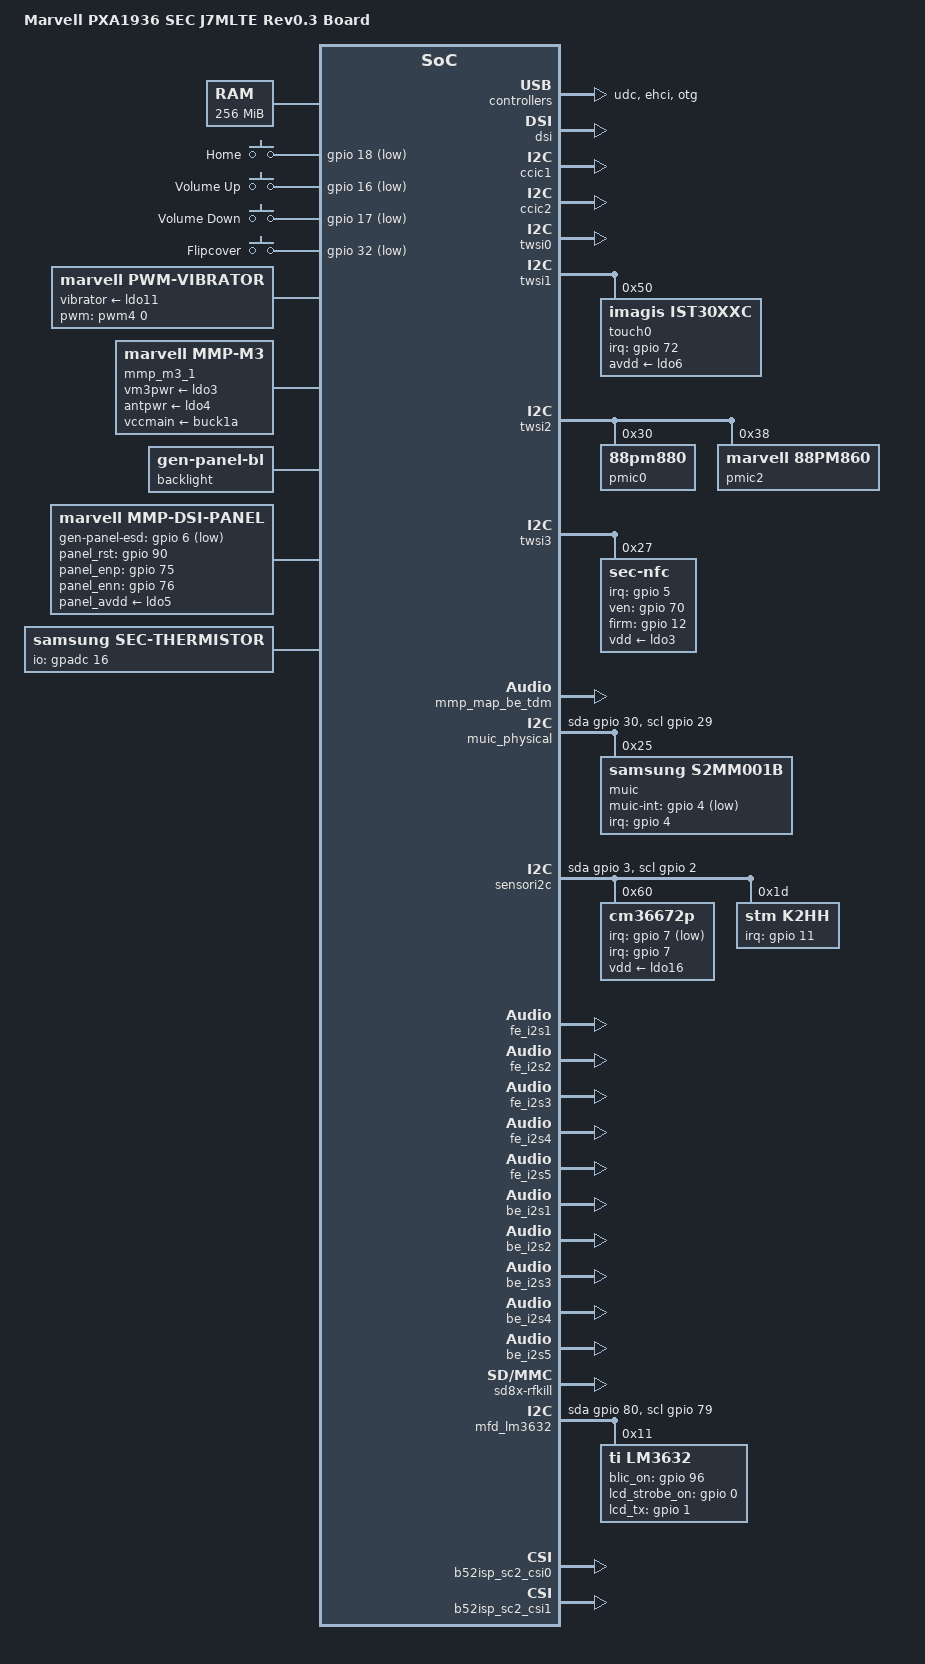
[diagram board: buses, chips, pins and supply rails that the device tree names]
/*
 *	Copyright (C) 2015 Samsung Electronics Co, Ltd.
 *
 *	This program is free software; you can redistribute it and/or modify
 *	it under the terms of the GNU General Public License version 2 as
 *	publishhed by the Free Software Foundation.
 */

/dts-v1/;
#include "pxa1936.dtsi"
#include "pxa1936-pinfunc.h"
#include <dt-bindings/mmc/pxa_sdhci.h>
#include <dt-bindings/input/input.h>
#include <dt-bindings/gpio/gpio.h>
#include <dt-bindings/video/gen-panel.h>
#include <dt-bindings/pxa1936_memory_reserve_sizes.h>
#include "sec-machtypes.h"

/ {
	model = "Marvell PXA1936 SEC J7MLTE Rev0.3 Board";
	compatible = "marvell,pxa1936";
	pxa,rev-id = <MACH_TYPE_J7MLTE 3>;

	aliases {
		i2c4 = &muic_physical;
		i2c5 = &sensori2c;
		i2c6 = &mfd_lm3632;
	};

	memory {
		reg = <0x00000000 0x10000000>;
	};

	reserved_memory {
		cp {
			compatible = "marvell,cp-heap";
			cp-base = <PXA1936_CP_BASE>;
			cp-size = <PXA1936_CP_RESERVE_SIZE>;
			status = "okay";
		};

		sec_log {
			compatible = "marvell,seclog-heap";
			seclog-base = <PXA1936_SECLOG_BASE>;
			seclog-size = <PXA1936_SECLOG_RESERVE_SIZE>;
			seclastklog-base = <PXA1936_SECLASTK_LOG_BASE>;
			seclastklog-size = <PXA1936_SECLASTK_LOG_RESERVE_SIZE>;
			status = "okay";
		};

		gpu {
			compatible = "marvell,gpu-heap";
			gpu-base = <PXA1936_GC_BASE>;
			gpu-size = <PXA1936_GC_RESERVE_SIZE>;
			status = "okay";
		};

		cm3_sbuf {
			compatible = "marvell,cm3sbuf-heap";
			cm3sbuf-base = <PXA1936_CM3_SHARED_BUF_BASE>;
			cm3sbuf-size = <PXA1936_CM3_SHARED_BUF_SIZE>;
			status = "okay";
		};

		fb_mem {
			compatible = "marvell,fb-heap";
			fb-mem = <PXA1936_FB_BASE>;
			xres = <720>;
			yres = <1280>;
			bpp = <4>; /* bits per pixel = 32, so bytes per pixel = 32/8 = 4 */
			status = "okay";
		};

		cma {
			compatible = "linux,cma-heap";
			cma-size = <PXA1936_CMA_RESERVE_SIZE>;
			status = "okay";
		};
	};

	soc {
		devfreq-ddr {
			status = "okay";
		};

		pd_display: pd_display@0xd4282800 {
			compatible = "marvell,power-domain-display-pxa1u88";
			reg = <0xd4282800 0x1000>;
			clocks = <&soc_clocks PXA1936_CLK_DISP_HCLK>,
				<&soc_clocks PXA1936_CLK_DSI_ESC>;
			clock-names = "LCDCIHCLK", "esc_clk";
		};

		smmu {	/* iommu in vpu */
			clocks = <&soc_clocks PXA1936_CLK_VPU>,
				<&soc_clocks PXA1936_CLK_VPUBUS>;
			clock-names = "VPUCLK", "VPUACLK";
			marvell,power-domain = <&pd_vpu>;
			status = "okay";
		};

		axi@d4200000 {	/* AXI */
			usbphy: usbphy@d4207000 {
				status = "okay";
			};

			udc: udc@d4208100 {
				status = "okay";
			};

			ehci: ehci@d4208100 {
				status = "okay";
			};

			otg: otg@d4208100 {
				status = "okay";
			};

			pd_gc: pd_gc@d4282800 {
				compatible = "marvell,power-domain-common-gc";
				reg = <0xd4282800 0x1000>;
				clocks = <&soc_clocks PXA1936_CLK_GC3D>;
				lpm-qos = <PM_QOS_CPUIDLE_BLOCK_DDR>;
			};

			pd_gc2d: pd_gc2d@d4282800 {
				compatible = "marvell,power-domain-common-gc2d";
				reg = <0xd4282800 0x1000>;
				clocks = <&soc_clocks PXA1936_CLK_GC2D>;
				lpm-qos = <PM_QOS_CPUIDLE_BLOCK_DDR>;
			};

			gpu: gpu@C0400000 {
				marvell,power-domain = <&pd_gc>;
				marvell,gpu-mem-base = <0x09000000>;
				marvell,gpu-mem-size = <0x1000000>;
				clocks = <&soc_clocks PXA1936_CLK_GC3D>,
					<&soc_clocks PXA1936_CLK_GCSH>,
					<&soc_clocks PXA1936_CLK_GCBUS>;
				clock-names = "GC3DFCLK", "GCSHCLK", "GC3DACLK";
				status = "okay";
			};

			gpu2d: gpu2d@d420c000 {
				marvell,power-domain = <&pd_gc2d>;
				clocks = <&soc_clocks PXA1936_CLK_GC2D>,
					<&soc_clocks PXA1936_CLK_GCBUS>;
				clock-names = "GC2DFCLK", "GC2DACLK";
				status = "okay";
			};

			pd_vpu: pd_vpu@d4282800 {
				compatible = "marvell,power-domain-common-vpu";
				reg = <0xd4282800 0x1000>;
				clocks = <&soc_clocks PXA1936_CLK_VPU>;
				lpm-qos = <PM_QOS_CPUIDLE_BLOCK_DDR>;
			};

			pd_smmu: pd_smmu@c0010000 {
				compatible = "marvell,power-domain-smmu-pxa1u88";
				reg = <0xc0010000 0x10000>;
				marvell,power-domain-parent = <&pd_vpu>;
				clocks = <&soc_clocks PXA1936_CLK_VPU>,
					<&soc_clocks PXA1936_CLK_VPUBUS>;
				clock-names = "VPUCLK", "VPUACLK";
			};

			coda7542: coda7542@d420d000 {
				marvell,sram-internal = <1>;
				marvell,nv21_support = <1>;
				marvell,power-domain = <&pd_smmu>;
				clocks = <&soc_clocks PXA1936_CLK_VPU>,
					<&soc_clocks PXA1936_CLK_VPUBUS>;
				clock-names = "VPUCLK", "VPUACLK";
				status = "okay";
			};

			devfreq-vpu {
				marvell,power-domain = <&pd_vpu>;
				status = "okay";
			};

			dsi: dsi@d420b800 {
				marvell,phy-name = "mmp_dsi1";
				marvell,plat-path-name = "mmp_pnpath";
				marvell,dsi-lanes = <4>;
				marvell,burst-mode = <2>;
				marvell,hbp-en;
				dsi_avdd-supply = <&buck3>;
				status = "okay";
			};

			asram: asram@d12a0000 {
				status = "okay";
			};

			adma0: adma@d128d800 {
				status = "okay";
			};

			adma1: adma@d128d900 {
				status = "okay";
			};

			ccic1: ccic@d420a000 {
				pinctrl-names = "default","sccb";
				pinctrl-0 = <&ccic1_pmx_func1 &front_torch_pmx_func>;
				pinctrl-1 = <&ccic1_pmx_func2>;
				interrupts = <0 42 0x4>;
				status = "okay";
			};

			ccic2: ccic@d420a800 {
				pinctrl-names = "default";
				pinctrl-0 = <&ccic2_pmx_func1>;
				/*ccic2 use ccic1 I2C pin on pxa1936dkb */
				sync_ccic1_pin;
				interrupts = <0 77 0x4>;
				status = "okay";
			};

			sc2mmu1: sc2mmu@d420F000 {
				interrupts = <0 15 0x4>;
				status = "okay";
			};

			b52isp: b52isp@0xC0200000 {
				interrupts = <0 11 0x4>;
				status = "okay";
			};

			vdma: vdma@d4209000 {
				marvell,vdma-num = <2>;
				marvell,vdma-axi = <0>;
				status = "okay";
				vdma1 {
					marvell,vdma-id = <0>;
					marvell,sram-size = <30720>;
					marvell,is_vid = <0>;
				};
				vdma2 {
					marvell,vdma-id = <2>;
					marvell,sram-size = <30720>;
					marvell,is_vid = <1>;
				};
			};

			disp: disp@d420b000 {
				marvell,disp-name = "disp_name";
				marvell,path-num = <1>;
				marvell,power-domain = <&pd_display>;
				clocks = <&soc_clocks PXA1936_CLK_DISP_HCLK>,
					<&soc_clocks PXA1936_CLK_PLL4VCO>,
					/* parent1-clk-tbl clk */
					<&soc_clocks PXA1936_CLK_DISP1>,
					<&soc_clocks PXA1936_CLK_DISP4>,
					/* parent2-clk-tbl clk */
					<&soc_clocks PXA1936_CLK_PLL1_624>,
					<&soc_clocks PXA1936_CLK_PLL1_832>,
					<&soc_clocks PXA1936_CLK_PLL1_499_EN>,
					<&soc_clocks PXA1936_CLK_PLL1_499>,
					<&soc_clocks PXA1936_CLK_PLL4>,
					<&soc_clocks PXA1936_CLK_PLL4VCODIV3>;
				clock-names = "LCDCIHCLK", "pll4_vco",
					/* parent1-clk-tbl clk */
					"disp1_clk", "dsipll_clk",
					/* parent2-clk-tbl clk */
					"pll1_624", "pll1_832", "pll1_499_en", "pll1_499", "pll4", "pll4_div3";
				status = "okay";
				path1 {
					marvell,path-name = "mmp_pnpath";
					marvell,overlay-num = <2>;
					marvell,overlay-table =<0>,<1>;
					marvell,output-type = <1>;
					marvell,path-config = <0x10>;
					marvell,link-config = <0x1>;
					disp_apmu {
						plat = <4>;
						apmu-reg = <0xd428284c>;
						clksrc-bit = <9>;
						parent1-clk-tbl = "disp1_clk", "dsipll_clk";
						parent2-clk-tbl = "pll1_624", "pll1_832", "pll1_499_en", "pll4", "pll4_div3";
					};
				};
			};

			fb0: fbbase {
				marvell,fb-name = "mmp-fb";
				marvell,path-name = "mmp_pnpath";
				marvell,overlay-id = <1>;
				marvell,default-pixfmt = <0x108>;
				marvell,buffer-num = <3>;
				marvell,fb-mem = <PXA1936_FB_BASE>;
				status = "okay";
			};

			fb1: fboverlay {
				marvell,fb-name = "mmp-fb-overlay";
				marvell,path-name = "mmp_pnpath";
				marvell,overlay-id = <0>;
				status = "okay";
			};

			/* SD card */
			sdh0: sdh@d4280000 {
				  vqmmc-supply	  = <&ldo10>;
				  vmmc-supply	  = <&ldo14>;
			};

			/* eMMC */
			sdh2: sdh@d4281000 {
				pinctrl-names = "default", "fast";
				pinctrl-0 = <&sdh2_pmx_func1 &sdh2_pmx_func2 &sdh2_pmx_func3>;
				pinctrl-1 = <&sdh2_pmx_func1_fast &sdh2_pmx_func2_fast &sdh2_pmx_func3_fast>;
				bus-width = <8>;
				non-removable;
				marvell,sdh-pm-runtime-en;
				marvell,sdh-quirks = <(SDHCI_QUIRK_BROKEN_CARD_DETECTION)>;
				marvell,sdh-quirks2 = <(
						SDHCI_QUIRK2_TUNING_ADMA_BROKEN |
						/* SDHCI_QUIRK2_BROKEN_HS200 | */
						SDHCI_QUIRK2_TIMEOUT_SHORT
						)>;
				marvell,sdh-host-caps = <(MMC_CAP_1_8V_DDR)>;
				marvell,sdh-host-caps2 = <(
						MMC_CAP2_DISABLE_BLK_ASYNC |
						MMC_CAP2_CACHE_CTRL
						)>;
				marvell,sdh-flags = <(
						PXA_FLAG_NEW_RX_CFG_REG |
						PXA_FLAG_SD_8_BIT_CAPABLE_SLOT |
						PXA_FLAG_ENABLE_CLOCK_GATING |
						PXA_FLAG_TX_SEL_BUS_CLK
						)>;
				/* prop "sdh-dtr-data": <timing preset_rate src_rate tx_delay rx_delay sdclk_sel0 sdclk_sel1 fakeclk_en> */
				marvell,sdh-dtr-data = <PXA_MMC_TIMING_LEGACY PXA_SDH_DTR_26M PXA_SDH_DTR_52M 0 0 0 0 0>,
						<PXA_MMC_TIMING_MMC_HS PXA_SDH_DTR_52M PXA_SDH_DTR_104M 0 0 0 0 0>,
						<PXA_MMC_TIMING_UHS_DDR50 PXA_SDH_DTR_52M PXA_SDH_DTR_104M 0 0 0 0 0>,
						<PXA_MMC_TIMING_MMC_HS200 PXA_SDH_DTR_156M PXA_SDH_DTR_156M 0 0 3 0 0>,
						<PXA_MMC_TIMING_MAX PXA_SDH_DTR_PS_NONE PXA_SDH_DTR_104M 0 0 0 0 0>;
				marvell,sdh-tuning-win-limit = <100>;
				marvell,sdh-dvfs-levels = <1 7>; /* tuning from dvfs level 1 to 7 */
				marvell,sdh-tuning-mode = <PXA_SDH_TUNING_DVFS>;
				status = "okay";
			};

			/* SD card */
			sdh0: sdh@d4280000 {
				pinctrl-names = "default", "fast";
				pinctrl-0 = <&sdh0_pmx_func1 &sdh0_pmx_func2 &sdh0_pmx_func3>;
				pinctrl-1 = <&sdh0_pmx_func1 &sdh0_pmx_func2_fast &sdh0_pmx_func3_fast>;
				cd-gpios = <&gpio 92 0>;
				cd-inverted;
				bus-width = <4>;
				wp-inverted;
				marvell,sdh-pm-runtime-en;
				marvell,sdh-host-caps-disable = <(MMC_CAP_UHS_SDR104)>;
				marvell,sdh-quirks = <(
						SDHCI_QUIRK_INVERTED_WRITE_PROTECT |
						SDHCI_QUIRK_BROKEN_CARD_DETECTION
						)>;

				/* as HW design, only SD Card's host has AIB_MMC register */
				marvell,sdh-quirks2 = <(
						SDHCI_QUIRK2_SET_AIB_MMC |
						SDHCI_QUIRK2_TUNING_ADMA_BROKEN |
						SDHCI_QUIRK2_TIMEOUT_SHORT
						)>;
				marvell,sdh-flags = <(
						PXA_FLAG_NEW_RX_CFG_REG |
						PXA_FLAG_TX_SEL_BUS_CLK |
						PXA_FLAG_ENABLE_CLOCK_GATING
						)>;
				/* prop "sdh-dtr-data": <timing preset_rate src_rate tx_delay rx_delay sdclk_sel0 sdclk_sel1 fakeclk_en> */
				marvell,sdh-dtr-data = <PXA_MMC_TIMING_LEGACY PXA_SDH_DTR_26M PXA_SDH_DTR_52M 0 0 0 0 0>,
						<PXA_MMC_TIMING_SD_HS PXA_SDH_DTR_52M PXA_SDH_DTR_104M 0 0 0 0 0>,
						<PXA_MMC_TIMING_UHS_DDR50 PXA_SDH_DTR_52M PXA_SDH_DTR_104M 0 0 0 0 0>,
						<PXA_MMC_TIMING_UHS_SDR104 PXA_SDH_DTR_208M PXA_SDH_DTR_208M 0 0 3 0 0>,
						<PXA_MMC_TIMING_MAX PXA_SDH_DTR_PS_NONE PXA_SDH_DTR_104M 0 0 0 0 0>;
				marvell,sdh-tuning-win-limit = <120>;
				marvell,sdh-dvfs-levels = <1 7>; /* tuning from dvfs level 1 to 7 */
				marvell,sdh-tuning-mode = <PXA_SDH_TUNING_DVFS>;
				status = "okay";
			};

			/* SDIO */
			sdh1: sdh@d4280800 {
				pinctrl-names = "default", "fast", "sleep";
				pinctrl-0 = <&sdh1_pmx_func1 &sdh1_pmx_func2 &sdh1_pmx_func3 &sdh1_pmx_func4>;
				pinctrl-1 = <&sdh1_pmx_func1_fast &sdh1_pmx_func2_fast &sdh1_pmx_func3 &sdh1_pmx_func4>;
				pinctrl-2 = <&sdh1_pmx_edge_wakeup>;
				bus-width = <4>;
				marvell,sdh-pm-runtime-en;
				marvell,sdh-host-caps-disable = <(MMC_CAP_UHS_SDR104 | MMC_CAP_UHS_SDR50)>;
				marvell,sdh-quirks = <(SDHCI_QUIRK_BROKEN_CARD_DETECTION)>;
				marvell,sdh-quirks2 = <(SDHCI_QUIRK2_HOLDSUSPEND_AFTER_REQUEST |
						SDHCI_QUIRK2_FAKE_SDIO_IRQ_IN_UHS |
						SDHCI_QUIRK2_TUNING_ADMA_BROKEN |
						SDHCI_QUIRK2_TIMEOUT_SHORT
						)>;
				marvell,sdh-pm-caps = <(MMC_PM_KEEP_POWER)>;
				marvell,sdh-host-caps2 = <(MMC_CAP2_NO_VOLTAGE_SWITCH)>;
				marvell,sdh-flags = <(
						PXA_FLAG_NEW_RX_CFG_REG |
						PXA_FLAG_WAKEUP_HOST |
						PXA_FLAG_TX_SEL_BUS_CLK |
						PXA_FLAG_EN_PM_RUNTIME |
						PXA_FLAG_DISABLE_PROBE_CDSCAN
						)>;
				/* prop "sdh-dtr-data": <timing preset_rate src_rate tx_delay rx_delay sdclk_sel0 sdclk_sel1 fakeclk_en> */
				marvell,sdh-dtr-data = <PXA_MMC_TIMING_LEGACY PXA_SDH_DTR_26M PXA_SDH_DTR_52M 0 0 0 0 0>,
						<PXA_MMC_TIMING_SD_HS PXA_SDH_DTR_45M PXA_SDH_DTR_89M 0 0 0 0 0>,
						<PXA_MMC_TIMING_UHS_DDR50 PXA_SDH_DTR_52M PXA_SDH_DTR_104M 0 0 0 0 0>,
						<PXA_MMC_TIMING_UHS_SDR50 PXA_SDH_DTR_104M PXA_SDH_DTR_104M 0 0 0 0 0>,
						<PXA_MMC_TIMING_UHS_SDR104 PXA_SDH_DTR_208M PXA_SDH_DTR_208M 0 0 3 0 0>,
						<PXA_MMC_TIMING_MAX PXA_SDH_DTR_PS_NONE PXA_SDH_DTR_89M 0 0 0 0 0>;
				marvell,sdh-tuning-win-limit = <120>;
				marvell,sdh-dvfs-levels = <1 7>; /* tuning from dvfs level 1 to 7 */
				marvell,sdh-tuning-mode = <PXA_SDH_TUNING_DVFS>;
				status = "okay";
			};
		};

		apb@d4000000 {
			pdma0: pdma@d4000000 {
				status = "okay";
			};

			timer0: timer@d4014000 {
				status = "disabled";
			};

			timer1: timer@d4016000 {
				status = "disabled";
			};

			timer2: timer@d401f000 {
				status = "okay";
			};

			edgewakeup: edgewakeup@d4019800 {
				status = "okay";
			};

			uart0: uart@d4017000 {
				pinctrl-names = "default", "sleep";
				pinctrl-0 = <&uart0_pmx_func1 &uart0_pmx_func2>;
				pinctrl-1 = <&uart0_pmx_func1_sleep &uart0_pmx_func2>;
				edge-wakeup-gpio = <47>; /* GPIO47: UART rx pin */
			};

			thermal: thermal@d4013300 {
				status = "okay";
			};

			pmx: pinmux@d401e000 {
				status = "okay";
				/* pin base, nr pins & gpio function */
				pinctrl-single,gpio-range = <
					/*
					 * GPIO number is hardcoded for range at here.
					 * In gpio chip, GPIO number is not hardcoded for range.
					 * Since one gpio pin may be routed to multiple pins,
					 * define these gpio range in pxa910-dkb.dts not pxa910.dtsi.
					 */
					&range 55 55 0	/* GPIO0 ~ GPIO54 */
					&range 110 32 0 /* GPIO67 ~ GPIO98 */
					&range 52 1 0	/* GPIO124 */
				>;

				pinctrl-names = "default";
				pinctrl-0 = <&mfp_pins_group_1 &mfp_pins_group_2>;

				/* GPIO Setting : IN/PU/H */
				mfp_pins_group_1: mfp_pins_group_1 {
					pinctrl-single,pins = <
						ND_IO15 AF0
						MMC1_DAT4 AF0
						MMC1_DAT5 AF0
						MMC1_DAT6 AF0
						MMC1_DAT7 AF0
						MMC1_WP AF1
						MMC1_CD AF1 /* Above pins not used by sdh1, configured as GPIO */
						GPIO124 AF0
						SLAVE_RESET_OUT AF0
						GPIO19 AF0			/* No.62 */
						GPIO31 AF0			/* No.74 */
						GPIO43 AF0
						GPIO44 AF0
						GPIO45 AF0
						GPIO46 AF0
						GPIO49 AF0
						GPIO50 AF0
						GPIO13 AF0
						GPIO14 AF0
						GPIO20 AF0
						GPIO68 AF0
						GPIO78 AF0
						GPIO9 AF0
						GPIO8 AF0
						GPIO86 AF0
						GPIO89 AF0
						GPIO92 AF0
					>;
					PULL_UP;LPM_FLOAT;
				};

				/* GPIO Setting : IN/NP */
				mfp_pins_group_2: mfp_pins_group_2 {
					  pinctrl-single,pins = <
						GPIO33 AF0                      /*+No.76 */
						GPIO34 AF0
						GPIO35 AF0
						GPIO36 AF0                      /*-No.79 */
					>;
					DS_MEDIUM;PULL_FLOAT;EDGE_NONE;LPM_FLOAT;
				};

				uart0_pmx_func1: uart0_pmx_func1 {
					pinctrl-single,pins = <
						GPIO47 AF6
					>;
					MFP_DEFAULT;
				};

				uart0_pmx_func2: uart0_pmx_func2 {
					pinctrl-single,pins = <
						GPIO48 AF6
					>;
					DS_MEDIUM;PULL_NONE;EDGE_NONE;LPM_DRIVE_LOW;
				};

				uart0_pmx_func1_sleep: uart0_pmx_func1_sleep {
					pinctrl-single,pins = <
						GPIO47 AF6
					>;
					DS_MEDIUM;PULL_NONE;EDGE_BOTH;LPM_NONE;
				};
				pmic1_pins: pinmux_88pm830_pins {
					pinctrl-single,pins = <
						GPIO4	AF0
						GPIO19	AF0
						GPIO98 AF0
					>;
					MFP_DEFAULT;
				};

				pmic1_pins_sleep: pinmux_88pm830_pins_sleep {
					pinctrl-single,pins = <
						GPIO4 AF0
					>;
					DS_MEDIUM;PULL_NONE;EDGE_BOTH;LPM_NONE;
				};

				/* MFP_DEFAULT */
				sdh0_pmx_func1: sdh0_pmx_func1 {
					pinctrl-single,pins = <
						GPIO92 AF0 /* GPIO92, used for sd card detect */
					>;
					MFP_DEFAULT;
				};

				/* no pull, no LPM */
				sdh0_pmx_func2: sdh0_pmx_func2 {
					pinctrl-single,pins = <
						MMC1_DAT3 AF0
						MMC1_DAT2 AF0
						MMC1_DAT1 AF0
						MMC1_DAT0 AF0
						MMC1_CMD AF0
					>;
					MFP_PULL_UP;
				};

				/* MFP_LPM_DRIVE_LOW */
				sdh0_pmx_func3: sdh0_pmx_func3 {
					pinctrl-single,pins = <
						MMC1_CLK AF0
					>;
					MFP_LPM_DRIVE_LOW;
				};

				/* ds fast, no pull, no LPM */
				sdh0_pmx_func2_fast: sdh0_pmx_func2_fast {
					pinctrl-single,pins = <
						MMC1_DAT3 AF0
						MMC1_DAT2 AF0
						MMC1_DAT1 AF0
						MMC1_DAT0 AF0
						MMC1_CMD AF0
					>;
					DS_FAST;PULL_UP;EDGE_NONE;LPM_NONE;
				};

				/* ds fast, LPM_DRIVE_LOW */
				sdh0_pmx_func3_fast: sdh0_pmx_func3_fast {
					pinctrl-single,pins = <
						MMC1_CLK AF0
					>;
					DS_FAST;PULL_NONE;EDGE_NONE;LPM_DRIVE_LOW;
				};

				sdh1_pmx_func1_fast: sdh1_pmx_func1_fast {
						pinctrl-single,pins = <
							GPIO37 AF1
							GPIO38 AF1
							GPIO39 AF1
							GPIO40 AF1
							GPIO41 AF1
						>;
						DS_FAST;PULL_NONE;EDGE_NONE;LPM_NONE;
				};

				sdh1_pmx_func2_fast: sdh1_pmx_func2_fast {
						pinctrl-single,pins = <
							GPIO42 AF1
						>;
						DS_FAST;PULL_NONE;EDGE_NONE;LPM_DRIVE_LOW;
				};

				sdh1_pmx_func1: sdh1_pmx_func1 {
						pinctrl-single,pins = <
							GPIO37 AF1
							GPIO38 AF1
							GPIO39 AF1
							GPIO40 AF1
							GPIO41 AF1
						>;
						MFP_DEFAULT;
				};

				sdh1_pmx_func2: sdh1_pmx_func2 {
						pinctrl-single,pins = <
							GPIO42 AF1
						>;
						DS_SLOW0;PULL_NONE;EDGE_NONE;LPM_DRIVE_LOW;
				};

				sdh1_pmx_func3: sdh1_pmx_func3 {
						pinctrl-single,pins = <
							GPIO97 AF0
							GPIO71 AF0
						>;
						DS_MEDIUM;PULL_FLOAT;EDGE_NONE;LPM_NONE;
				};

				sdh1_pmx_func4: sdh1_pmx_func4 {
						pinctrl-single,pins = <
							GPIO8 AF0
							/* GPIO5 AF0 */
						>;
						DS_MEDIUM;PULL_DOWN;EDGE_NONE;LPM_NONE;
				};

				sdh1_pmx_edge_wakeup: sdh1_pmx_edge_wakeup {
						pinctrl-single,pins = <
							GPIO39 AF1
						>;
						DS_MEDIUM;PULL_NONE;EDGE_BOTH;LPM_NONE;
				};

				/* no pull, no LPM */
				sdh2_pmx_func1: sdh2_pmx_func1 {
					pinctrl-single,pins = <
						ND_IO7 AF1
						ND_IO6 AF1
						ND_IO5 AF1
						ND_IO4 AF1
						ND_IO3 AF1
						ND_IO2 AF1
						ND_IO1 AF1
						ND_IO0 AF1
					>;
					MFP_PULL_UP;
				};

				/* MFP_LPM_DRIVE_LOW */
				sdh2_pmx_func2: sdh2_pmx_func2 {
					pinctrl-single,pins = <
						SM_SCLK AF1
					>;
					MFP_LPM_DRIVE_LOW;
				};

				sdh2_pmx_func3: sdh2_pmx_func3 {
					pinctrl-single,pins = <
						ND_CLE_SM_OEN AF1
					>;
					MFP_DEFAULT;
				};

				/* ds fast, no pull, no LPM */
				sdh2_pmx_func1_fast: sdh2_pmx_func1_fast {
					pinctrl-single,pins = <
						ND_IO7 AF1
						ND_IO6 AF1
						ND_IO5 AF1
						ND_IO4 AF1
						ND_IO3 AF1
						ND_IO2 AF1
						ND_IO1 AF1
						ND_IO0 AF1
					>;
					DS_FAST;PULL_UP;EDGE_NONE;LPM_NONE;
				};

				/* ds fast, LPM_DRIVE_LOW */
				sdh2_pmx_func2_fast: sdh2_pmx_func2_fast {
					pinctrl-single,pins = <
						SM_SCLK AF1
					>;
					DS_FAST;PULL_NONE;EDGE_NONE;LPM_DRIVE_LOW;
				};

				sdh2_pmx_func3_fast: sdh2_pmx_func3_fast {
					pinctrl-single,pins = <
						ND_CLE_SM_OEN AF1
					>;
					DS_FAST;PULL_NONE;EDGE_NONE;LPM_NONE;
				};

				sspa0_gpio: sspa0_gpio {
					pinctrl-single,pins = <
						GPIO21 AF0
						GPIO22 AF0
						GPIO23 AF0
						GPIO24 AF0
					>;
					DS_MEDIUM;PULL_NONE;EDGE_NONE;LPM_FLOAT;
				};
				sspa0_func: sspa0_func {
					pinctrl-single,pins = <
						GPIO21 AF7
						GPIO22 AF7
						GPIO23 AF7
						GPIO24 AF7
					>;
					DS_MEDIUM;PULL_NONE;EDGE_NONE;LPM_NONE;
				};
				sspa1_func: sspa1_func {
					pinctrl-single,pins = <
						GPIO25 AF7
						GPIO26 AF7
						GPIO27 AF7
						GPIO28 AF7
					>;
					DS_MEDIUM;PULL_NONE;EDGE_NONE;LPM_NONE;
				};

				twsi0_pmx_func: twsi0_pmx_func {
					/* gpio53/54: AF2 */
					pinctrl-single,pins = <
						GPIO53 AF2
						GPIO54 AF2
					>;
					MFP_LPM_FLOAT;
				};
				twsi0_pmx_gpio: twsi0_pmx_gpio {
					pinctrl-single,pins = <
						GPIO53 AF0
						GPIO54 AF0
					>;
					MFP_LPM_FLOAT;
				};
				twsi1_pmx_func: twsi1_pmx_func {
					/* gpio87/88: AF5 */
					pinctrl-single,pins = <
						GPIO87 AF5
						GPIO88 AF5
					>;
					MFP_LPM_FLOAT;
				};
				twsi1_pmx_gpio: twsi1_pmx_gpio {
					pinctrl-single,pins = <
						GPIO87 AF0
						GPIO88 AF0
					>;
					MFP_LPM_FLOAT;
				};
				twsi3_pmx_func: twsi3_pmx_func {
					/* gpio73/74: AF5 */
					pinctrl-single,pins = <
						GPIO73 AF5
						GPIO74 AF5
					>;
					MFP_LPM_FLOAT;
				};
				twsi3_pmx_gpio: twsi3_pmx_gpio {
					pinctrl-single,pins = <
						GPIO73 AF0
						GPIO74 AF0
					>;
					MFP_LPM_FLOAT;
				};

				gnss_pmx_def: gnss_pmx_def {
					pinctrl-single,pins = <
						GPIO81 AF0
						GPIO82 AF0
						GPIO83 AF0
						GPIO84 AF0
						GPIO85 AF0
					>;
					MFP_LPM_PULL_DW;
				};

				gnss_pmx_power_on: gnss_pmx_power_on {
					pinctrl-single,pins = <
						GPIO81 AF6
						GPIO82 AF6
						GPIO83 AF6
						GPIO84 AF6
						GPIO85 AF6
					>;
					MFP_DEFAULT;
				};

				dvc_pmx_func: dvc_pmx_func {
					pinctrl-single,pins = <
						GPIO93 AF5
						GPIO94 AF5
						GPIO95 AF5
					>;
					MFP_DEFAULT;
				};

				ccic1_pmx_func1: ccic1_pmx_func1 {
					pinctrl-single,pins = <
						GPIO77 AF1
						GPIO51 AF0
						GPIO52 AF0
						GPIO53 AF0
						GPIO54 AF0
					>;
					MFP_LPM_FLOAT;
					/* DS_MEDIUM; PULL_NONE; EDGE_NONE; LPM_FLOAT;*/
				};

				front_torch_pmx_func: front_torch_pmx_func {
					pinctrl-single,pins = <
						GPIO67 AF0
						GPIO69 AF0
						GPIO0 AF0
						GPIO1 AF0
						GPIO10 AF0
						GPIO98 AF0
					>;
					DS_MEDIUM; PULL_DOWN; EDGE_NONE; LPM_DRIVE_LOW;
				};

				ccic1_pmx_func2: ccic1_pmx_func2 {
					pinctrl-single,pins = <
						GPIO53 AF7
						GPIO54 AF7
					>;
					MFP_DEFAULT;
				};

				ccic2_pmx_func1: ccic2_pmx_func1 {
					pinctrl-single,pins = <
						GPIO69 AF0
					>;
					DS_MEDIUM; PULL_DOWN; EDGE_NONE; LPM_DRIVE_LOW;
				};


				muic_pmx_i2c: muic_pmx_i2c {
					pinctrl-single,pins = <
						GPIO30 AF0
						GPIO29 AF0
					>;
					MFP_LPM_FLOAT;
				};

				muic_pmx_io: muic_pmx_io {
					pinctrl-single,pins = <
						GPIO4 AF0
						GPIO91 AF0
					>;
					DS_MEDIUM;PULL_FLOAT;EDGE_NONE;LPM_FLOAT;
				};

				muic_pmx_io_sleep: muic_pmx_io_sleep {
					pinctrl-single,pins = <
						GPIO4 AF0
					>;
					DS_MEDIUM;PULL_FLOAT;EDGE_FALL;LPM_FLOAT;
				};

				gpio_keys_pins: pinmux_gpio_keys_pins {
					pinctrl-single,pins = <
						GPIO16 AF0
						GPIO17 AF0
						GPIO18 AF0
					>;
					MFP_PULL_UP;
				};

				gpio_sws_pins: gpio_sws_pins {
					pinctrl-single,pins = <
						GPIO32 AF0
					>;
					MFP_PULL_FLOAT;
				};

				gpio_keys_edge_wakeup: gpio_keys_edge_wakeup {
					pinctrl-single,pins = <
						GPIO18 AF0
					>;
					DS_MEDIUM;PULL_UP;EDGE_BOTH;LPM_NONE;
				};

				gpio_sws_edge_wakeup: gpio_sws_edge_wakeup {
					pinctrl-single,pins = <
						GPIO32 AF0
					>;
					DS_MEDIUM;PULL_FLOAT;EDGE_BOTH;LPM_NONE;
				};

				touch_pins: touch_pins {
					pinctrl-single,pins = <
						GPIO72 AF0
						>;
					MFP_DEFAULT;
				};

				sensor_i2c_pmx: sensor_i2c_pmx {
					pinctrl-single,pins = <
						GPIO3 AF0
						GPIO2 AF0
					>;
					MFP_DEFAULT;
				};

				prox_int_pmx: prox_int_pmx {
					pinctrl-single,pins = <
						GPIO7 AF0
					>;
					DS_MEDIUM;PULL_UP;EDGE_NONE;LPM_NONE;
				};

				acc_int_pmx: acc_int_pmx {
					pinctrl-single,pins = <
						GPIO11 AF0
					>;
					MFP_DEFAULT;
				};

				nfc_pins: nfc_pins {
					pinctrl-single,pins = <
						GPIO5 AF0
						GPIO12 AF0
					>;
					MFP_PULL_DOWN;
				};

				nfc_en_pin: nfc_en_pin {
					pinctrl-single,pins = <
						GPIO70 AF0
					>;
					MFP_DEFAULT;
				};
				lcd_esd_pmx: lcd_esd_pmx {
					pinctrl-single,pins = <
						GPIO6 AF0
					>;
					MFP_DEFAULT;
				};

				lcd_rst_pmx_idle: lcd_rst_pmx_idle {
					pinctrl-single,pins = <
						GPIO90 AF0
					>;
					MFP_PULL_UP;
				};

				lcd_rst_pmx_sleep: lcd_rst_pmx_sleep {
					pinctrl-single,pins = <
						GPIO90 AF0
					>;
					DS_MEDIUM;PULL_DOWN;EDGE_NONE;LPM_DRIVE_LOW;
				};
			};

			coresight: coresight@d4100000 {
				status = "okay";
			};

			twsi0: i2c@d4011000 {
				status = "okay";
			};

			mfpr: mfpr@d401e000 {
				pinctrl-names = "default";
				reg = <0xd401e000 0x31c>;
				status = "okay";
			};

			twsi1: i2c@d4010800 {
				pinctrl-names = "default","gpio";
				pinctrl-0 = <&twsi1_pmx_func>;
				pinctrl-1 = <&twsi1_pmx_gpio>;
				i2c-gpio = <&gpio 87 0 &gpio 88 0>;
				status = "okay";

				touch0: ist30xxc@50 {
					compatible = "imagis,ist30xxc";
					pinctrl-names = "default";
					pinctrl-0 = <&touch_pins>;
					reg = <0x50>;
					avdd-supply = <&ldo6>;
					interrupt-parent = <&gpio>;
					interrupts = <72 IRQF_TRIGGER_FALLING>;
					imagis,max-x = <1152>;
					imagis,max-y = <2047>;
					imagis,max-w = <15>;
					imagis,irq-flag =  <IRQF_ONESHOT>;
					imagis,avdd-volt = <3000000>;
					imagis,chip-id = <0x38C>;
					imagis,max-node = <576>;
					/* IST3026C & IST3032C : 256
					   IST3038C & IST3044C & IST3048C : 576 */
					imagis,chip-code = <3>;
					/* 1 : IST3026C
					   2 : IST3032C
					   3 : IST3038C
					   4 : IST3044C
					   5 : IST3048C */
					imagis,chip-name = "IST3038C";
				};
			};

			twsi2: i2c@d4037000 {
				status = "okay";

				pmic0: 88pm880@30 {
					reg = <0x30>;
					interrupts = <0 4 IRQF_TRIGGER_HIGH>;
					interrupt-parent = <&gic>;

					dvc {
						pinctrl-names = "default";
						pinctrl-0 = <&dvc_pmx_func>;
					};

					battery {
						bat-ntc-support;
						gpadc-det-no = <3>;
						gpadc-temp-no = <1>;

						cc-fixup = <102>;
					};

					/*
					 * TODO: remove later, fake ldo,
					 * to pass compile
					 */
					ldo19: regulator-ldo19 {
					};
				};

				pmic2: 88pm860@38 {
					compatible = "marvell,88pm860";
					reg = <0x38>;
					marvell,pmic-type = <1>;
					/* no codec_int currently, comment out now */
					/*
					interrupt-parent = <&gpio>;
					interrupts = <124 0x1>;
					marvell,88pm805-irq-write-clear;
					*/
					pm860_codec: pm860_codec {
						compatible = "marvell,88pm860-codec";
						#dailink-cells = <1>;
					};
				};
			};

			twsi3: i2c@d4013800 {
				pinctrl-names = "default", "gpio";
				pinctrl-0 = <&twsi3_pmx_func>;
				pinctrl-1 = <&twsi3_pmx_gpio>;
				i2c-gpio = <&gpio 73 0 &gpio 74 0>;
				status = "okay";
				sec-nfc@27 {
					compatible = "sec-nfc";
					pinctrl-names = "default";
					pinctrl-0 = <&nfc_pins &nfc_en_pin>;
					reg = <0x27>;
					interrupt-parent = <&gpio>;
					interrupts = <5 0x1>;
					sec-nfc,irq-gpio = <&gpio 5 0>;
					sec-nfc,ven-gpio = <&gpio 70 0>;
					sec-nfc,firm-gpio = <&gpio 12 0>;
					sec-nfc,vdd-supply = <&ldo3>;
				};
			};

			/* SSPA port 0 */
			sspa0: sspa@d128dc00 {
				pinctrl-names = "default";
				pinctrl-0 = <&sspa0_func>;
				playback_period_bytes = <4096>;
				playback_buffer_bytes = <12288>;
				capture_period_bytes = <4096>;
				capture_buffer_bytes = <8192>;
				burst_size = <4>;
				#dailink-cells = <1>;
				status = "okay";
			};

			/* SSPA port 1 */
			sspa1: sspa@d128dd00 {
				pinctrl-names = "default";
				pinctrl-0 = <&sspa1_func>;
				playback_period_bytes = <16384>;
				playback_buffer_bytes = <32768>;
				capture_period_bytes = <4096>;
				capture_buffer_bytes = <8192>;
				burst_size = <4>;
				#dailink-cells = <1>;
				status = "okay";
			};

			map: map@d1200000 {
				marvell,b0_fix;
				marvell,apll = <0>;
				lpm-qos = <PM_QOS_CPUIDLE_BLOCK_UDR>;
				status = "okay";
				sleep_vol = <975000>;
				pmic-name = "88pm880";
				vccmain-supply = <&buck1aslp>;
				mmp_map_codec: mmp_map_codec {
					compatible = "marvell,mmp-map-codec";
					#dailink-cells = <1>;
					sleep_vol = <975000>;
				};
				mmp_map_be: mmp_map_be {
					compatible = "marvell,mmp-map-be";
					#dailink-cells = <1>;
				};
				mmp_map_be_tdm: mmp_map_be_tdm {
					compatible = "marvell,mmp-map-be-tdm";
					#dailink-cells = <1>;
				};
			};

			acipc: acipc@d401d000 {
				status = "okay";
			};

			seh: seh@d4080000 {
				status = "okay";
			};

			cp-load {
				status = "okay";
			};
		};

		sec_debug {
			compatible = "sec,sec_debug";
			status = "okay";
		};
	};

	muic_physical: i2c-gpio@4 {
		compatible = "i2c-gpio";
		gpios = <&gpio 30 0 &gpio 29 0>;
		i2c-gpio,delay-us = <3>;
		i2c-gpio,timeout-ms = <100>;
		#address-cells = <1>;
		#size-cells = <0>;
		status = "okay";

		muic: s2mm001b@25 {
			compatible = "samsung,s2mm001b";
			reg = <0x25>;
			interrupt-parent = <&gpio>;
			interrupts = <4 IRQF_TRIGGER_FALLING>;
			pinctrl-names = "default", "sleep";
			pinctrl-0 = <&muic_pmx_io>;
			pinctrl-1 = <&muic_pmx_io_sleep>;
			muic-int = <&gpio 4 GPIO_ACTIVE_LOW>;
			status = "ok";
		};
	};

	muic_logical: extcon-sec {
		compatible = "samsung,extcon-sec";
		status = "ok";
	};

	sensori2c: i2c-gpio@5 {
		compatible = "i2c-gpio";
		gpios = <&gpio 3 0 &gpio 2 0>;       /* SDA & SCL */
		i2c-gpio,delay-us = <3>;
		i2c-gpio,timeout-ms = <100>;

		#address-cells = <1>;
		#size-cells = <0>;
		pinctrl-names = "default";
		pinctrl-0 = <&sensor_i2c_pmx>;

		status = "okay";

		cm36672p@60 {
			compatible = "cm36672p";
			reg = <0x60>;
			interrupt-parent = <&gpio>;
			interrupts = <7 IRQF_TRIGGER_FALLING>;
			pinctrl-names = "default";
			pinctrl-0 = <&prox_int_pmx>;
			cm36672p,irq_gpio = <&gpio 7 0x1>;
			cm36672p,vdd-supply = <&ldo16>;
			cm36672p,default_hi_thd = <19>;
			cm36672p,default_low_thd = <15>;
			cm36672p,cancel_hi_thd = <10>;
			cm36672p,cancel_low_thd = <7>;
			cm36672p,default_trim = <0>;
			cm36672p,ps_it = <4>;
			cm36672p,led_current = <5>;
		};

		k2hh@1d {
			compatible = "stm,k2hh";
			pinctrl-names = "default";
			pinctrl-0 = <&acc_int_pmx>;
			reg = <0x1d>;
			interrupt-parent = <&gpio>;
			interrupts = <11 IRQF_TRIGGER_FALLING>;
			stm,irq_gpio = <&gpio 11 0x00>;
			stm,axis_map_x = <1>;
			stm,axis_map_y = <0>;
			stm,axis_map_z = <2>;
			stm,negate_x = <0>;
			stm,negate_y = <1>;
			stm,negate_z = <1>;
			stm,poll_interval = <100>;
			stm,min_interval = <2>;
		};
	};

	mmp_pcm_hostless: mmp_pcm_hostless {
		bus_number = <0>;
		compatible = "marvell,mmp-pcm-hostless";
		#dailink-cells = <1>;
		status = "okay";
	};

	snd_soc_dummy: snd_soc_dummy {
		compatible = "snd-soc-dummy";
		#dailink-cells = <1>;
		status = "okay";
	};

	sound {
		compatible = "marvell,map-card";
		map,dapm-route =
			"ADC input1", "TDM_MIC1_CAP",
			"ADC input2", "TDM_MIC2_CAP",
			"ADC input3", "BT_VC_UL",
			"TDM_OUT1_PLAYBACK", "DAC1 output out1",
			"TDM_OUT2_PLAYBACK", "DAC2 output out2",
			"BT_VC_DL", "i2s3_bt_vc";
		fe_i2s1: fe_i2s1 {
			compatible = "marvell,map-dailink-1";
			dai-name = "MAP I2S1 audio";
			stream-name = "map i2s1";
			marvell,cpu-dai = <&sspa0 0>;
			marvell,codec-dai = <&mmp_map_codec 1>;
		};
		fe_i2s2: fe_i2s2 {
			compatible = "marvell,map-dailink-1";
			dai-name = "MAP I2S4 audio";
			stream-name = "map i2s4";
			marvell,cpu-dai = <&sspa1 1>;
			marvell,codec-dai = <&mmp_map_codec 4>;
		};
		fe_i2s3: fe_i2s3 {
			compatible = "marvell,map-dailink-2";
			dai-name = "MAP I2S2 audio";
			stream-name = "map i2s2";
			marvell,cpu-dai = <&mmp_pcm_hostless 0>;
			marvell,codec-dai = <&mmp_map_codec 2>;
			marvell,dai-no-host-mode;
		};
		fe_i2s4: fe_i2s4 {
			compatible = "marvell,map-dailink-7";
			dai-name = "MAP I2S3 audio";
			stream-name = "map i2s3";
			marvell,cpu-dai = <&mmp_pcm_hostless 1>;
			marvell,codec-dai = <&mmp_map_codec 3>;
			marvell,dai-no-host-mode;
		};
		fe_i2s5: fe_i2s5 {
			compatible = "marvell,map-dailink-2";
			dai-name = "MAP I2S5 audio";
			stream-name = "map i2s5";
			marvell,cpu-dai = <&mmp_pcm_hostless 2>;
			marvell,codec-dai = <&mmp_map_codec 5>;
			marvell,dai-dynamic;
			marvell,dai-no-host-mode;
		};
		be_i2s1: be_i2s1 {
			compatible = "marvell,map-dailink-3";
			dai-name = "MAP AUXI2S audio";
			stream-name = "BT audio";
			marvell,cpu-dai = <&mmp_map_be 1>;
			marvell,codec-dai = <&snd_soc_dummy 0>;
			marvell,codec-name = "snd-soc-dummy";
			marvell,codec-dai-name = "snd-soc-dummy-dai";
			marvell,dai-no-pcm;
			marvell,dai-fixup = <0>;
		};
		be_i2s2: be_i2s2 {
			compatible = "marvell,map-dailink-6";
			dai-name = "MAP TDM hs audio";
			stream-name = "codec hs audio";
			marvell,cpu-dai = <&mmp_map_be_tdm 2>;
			marvell,codec-dai = <&pm860_codec 3>;
			marvell,playback-only;
			marvell,dai-no-pcm;
			marvell,dai-fixup = <1>;
		};
		be_i2s3: be_i2s3 {
			compatible = "marvell,map-dailink-4";
			dai-name = "MAP TDM speaker audio";
			stream-name = "codec speaker audio";
			marvell,cpu-dai = <&mmp_map_be_tdm 1>;
			marvell,codec-dai = <&pm860_codec 4>;
			marvell,playback-only;
			marvell,dai-no-pcm;
			marvell,dai-fixup = <1>;
		};
		be_i2s4: be_i2s4 {
			compatible = "marvell,map-dailink-5";
			dai-name = "MAP TDM mic1 audio";
			stream-name = "codec mic1 audio";
			marvell,cpu-dai = <&mmp_map_be_tdm 3>;
			marvell,codec-dai = <&pm860_codec 1>;
			marvell,capture-only;
			marvell,dai-no-pcm;
		};
		be_i2s5: be_i2s5 {
			compatible = "marvell,map-dailink-5";
			dai-name = "MAP TDM mic2 audio";
			stream-name = "codec mic2 audio";
			marvell,cpu-dai = <&mmp_map_be_tdm 4>;
			marvell,codec-dai = <&pm860_codec 2>;
			marvell,capture-only;
			marvell,dai-no-pcm;
		};
	};

	ion {
		marvell,ion-nr = <2>;
		status = "okay";
		marvell,ion-iommu = <1>;
		marvell,power-domain = <&pd_smmu>;
		heap1 {
			marvell,ion-name = "carveout_heap";
			marvell,ion-type = <2>;
			marvell,ion-id = <2>;
			marvell,ion-base = <0>;
			marvell,ion-size = <0>;
		};
		heap2 {
			marvell,ion-name = "system_heap";
			marvell,ion-type = <0>;
			marvell,ion-id = <0>;
		};
	};

	input_booster {
		compatible = "input_booster";
		#address-cell = <1>;
		#size-cell = <0>;

		touch_booster@1 {
			label = "TOUCH";
			type = <0>; /* BOOSTER_DEVICE_TOUCH */

			levels = <1 2 3>;

			/* Frequency table */
			cpu_freqs = <1057000 1057000 1057000>;
			chg_cpu_freqs = <832000 832000 832000>;

			/* Time table */
			head_times = <200 200 200>;
			tail_times = <300 300 300>;
			phase_times = <0 0 0>;
		};

		/* If you need to add new type, add it this position */
	};

	gpio_keys {
		compatible = "gpio-keys";
		pinctrl-names = "default", "sleep";
		pinctrl-0 = <&gpio_keys_pins &gpio_sws_pins>;
		pinctrl-1 = <&gpio_keys_edge_wakeup &gpio_sws_edge_wakeup>;
		edge-wakeup-gpios = <&gpio 18 GPIO_ACTIVE_HIGH &gpio 32 GPIO_ACTIVE_HIGH>;
		#address-cells = <1>;
		#size-cells = <0>;

		home {
			label = "Home";
			linux,code = <KEY_HOMEPAGE>; /* KEY_HOMEPAGE */
			gpios = <&gpio 18 GPIO_ACTIVE_LOW>;
		};
		volume-up {
			label = "Volume Up";
			linux,code = <KEY_VOLUMEUP>; /* KEY_VOLUMEUP */
			gpios = <&gpio 16 GPIO_ACTIVE_LOW>;
		};
		volume-down {
			label = "Volume Down";
			linux,code = <KEY_VOLUMEDOWN>; /* KEY_VOLUMEDOWN */
			gpios = <&gpio 17 GPIO_ACTIVE_LOW>;
		};
		flipcover {
			label = "Flipcover";
			linux,code = <SW_FLIPCOVER>; /* SW_FLIPCOVER */
			gpios = <&gpio 32 GPIO_ACTIVE_LOW>;
			linux,input-type = <EV_SW>;
			debounce-interval = <20>;
		};
	};

	vibrator {
		compatible = "marvell,pwm-vibrator";
		pwms = <&pwm4 0 1000>;
		min_timeout = <0>;
		duty_cycle = <800>;
		vdd_type = <0>;
		vibrator-supply = <&ldo11>;
	};

	sd8x-rfkill {
		sd-host = <&sdh1>;
		pd-gpio = <&gpio 97 0>;
		wib_3v3-supply = <&buck5>;
		wib_1v8-supply = <&buck2>;
		edge-wakeup-gpio = <&gpio 39 0>;
		status = "okay";
	};

	sd8xxx-wlan {
		drv_mode = <0x5>;
		cfg80211_wext = <0xc>;
		sta_name = "wlan";
		wfd_name = "p2p";
		max_vir_bss = <1>;
		cal_data_cfg = "mrvl/WlanCalData_ext.conf";
		txpwrlimit_cfg = "mrvl/txpwrlimit_cfg.bin";
		reg_alpha2 = "GB";
		p2p_enh = <1>;
	};

	sd8xxx-bt {
		/* init_cfg = "mrvl/bt_init_cfg.conf"; */
        cal_cfg = "mrvl/bt_cal_data.conf";
	};

	mmp_m3_1: apsenhb {
		compatible = "marvell,mmp-m3";
		pmicver = <2>;
		vm3pwr-supply = <&ldo3>;
		antpwr-supply = <&ldo4>;

		/* 975000 for CM3 on, 700000 for CM3 off */
		vccmain = <975000 700000>;
		vccmain-supply = <&buck1a>;

		pinctrl-names = "default", "poweron";
		pinctrl-0 = <&gnss_pmx_def>;
		pinctrl-1 = <&gnss_pmx_power_on>;
		status = "okay";
	};

	tzdd {
		status = "okay";
	};

	dip {
		compatible = "marvell,simple-dip";
		clocks = <&soc_clocks PXA1936_CLK_CLST0>,
				<&soc_clocks PXA1936_CLK_CLST1>,
				<&soc_clocks PXA1936_CLK_DDR>;
		clock-names = "clst0", "clst1", "ddr";
	};

	iml: iml@7ffffe0{
		status = "okay";
	};

	mfd_lm3632: i2c-gpio@6 {
		compatible = "i2c-gpio";
		gpios = <&gpio 80 0 &gpio 79 0>;
		i2c-gpio,delay-us = <10>;
		i2c-gpio,timeout-ms = <100>;
		#address-cells = <1>;
		#size-cells = <0>;
		status = "okay";
		lm3632@11 {
			compatible = "ti,lm3632";
			reg = <0x11>;
			blic_on-gpio = <&gpio 96 0>;
			bl-current = <18000>;
			lcd_strobe_on-gpio = <&gpio 0 0>;
			lcd_tx-gpio=<&gpio 1 0>;
			switching-freq = <500000>;
			status = "ok";
		};
	};

	backlight: gen-panel-bl {
		compatible = "gen-panel-bl";
		backlight-name = "panel";
		backlight-brt-range = <
			0	0	/* OFF */
			10	2	/* MIN */
			20	10	/* DIM */
			143	96	/* DEF */
			255	213	/* MAX */
			255	255	/* HBM(OUTDOOR) */
		>;
		gen-panel-bl-hbm-en;
		gen-panel-bl-tune-en;
	};

	panel {
		compatible = "marvell,mmp-dsi-panel";
		pinctrl-names = "default", "enable", "disable";
		pinctrl-0 = <&lcd_esd_pmx &lcd_rst_pmx_idle>;
		pinctrl-1 = <&lcd_rst_pmx_idle>;
		pinctrl-2 = <&lcd_rst_pmx_sleep>;
		marvell,path-name = "mmp_pnpath";
		gen-panel = <&gen_panel>;
		gen-panel-backlight = <&backlight>;
		gen-panel-esd-en;
		gen-panel-esd-gpio = <&gpio 6 1>;
		gen-panel-esd-type = <ESD_FALLING>;
		panel_avdd-supply = <&ldo5>;
		panel_rst-gpio = <&gpio 90 0>;
		panel_enp-gpio = <&gpio 75 0>;
		panel_enn-gpio = <&gpio 76 0>;
		panel-ext-pin {
			/*
			 * Three properties are required
			 * to control pwr pin
			 * @node : panel-ext-pin node
			 * @on : <0> - off / <1> - on
			 * @usec : delay time of usec
			 */
			panel-ext-pin-on = <
				&panel_avdd  1	10000
				&panel_enp   1	2000
				&panel_enn   1	10000
				&panel_rst   1	20000
				&panel_rst   0	20000
				&panel_rst   1	30000
			>;
			panel-ext-pin-off = <
				&panel_rst   0	10000
				&panel_enn   0	2000
				&panel_enp   0	0
				&panel_avdd  0	1000
			>;
			/*
			 * There are properties to define pwr pin
			 * pin-name : pin name
			 * pin-type : <0> - GPIO, <1> - PMIC Regulator
			*/
			panel_rst: panel-ext-pin-0 {
				pin-name = "panel_rst";
				pin-type = <EXT_PIN_GPIO>;
			};
			panel_avdd: panel-ext-pin-1 {
				pin-name = "panel_avdd";
				pin-type = <EXT_PIN_REGULATOR>;
			};
			panel_enp: panel-ext-pin-2 {
				pin-name = "panel_enp";
				pin-type = <EXT_PIN_GPIO>;
			};
			panel_enn: panel-ext-pin-3 {
				pin-name = "panel_enn";
				pin-type = <EXT_PIN_GPIO>;
			};
		};
		gen_panel: gen-panel {};
	};

	mcam0:mcam@0 {
		sc2-i2c-dyn-ctrl;
		pwdn-gpios = <&gpio 68 0>;
		reset-gpios = <&gpio 67 0>;
		/*
		af_2v8-supply = <&ldo10>;
		avdd_2v8-supply = <&ldo11>;
		dovdd_1v8-supply = <&voutsw>;
		dvdd_1v2-supply = <&ldo12>;
		*/
		dphy_val = <0xff1d00 0x00024733 0x04001001>;
		status = "disable";
	};

	mcam1:mcam@1 {
		sc2-i2c-dyn-ctrl;
		pwdn-gpios = <&gpio 70 0>;
		reset-gpios = <&gpio 69 0>;

		af_2v8-supply = <&ldo8>;
		avdd_2v8-supply = <&ldo7>;
		dovdd_1v8-supply = <&buck2>;
		dvdd_1v2-supply = <&ldo17>;

		dphy_val = <0xff1d00 0x00024733 0x04001001>;
		status = "okay";
	};

	soc-camera@0 {
		status = "okay";
	};

	soc-camera@1 {
		status = "okay";
	};

	plat_cam {
		status = "okay";
		frontsensor {
			compatible = "marvell,frontsensor";
			#address-cells = <1>;
			#size-cells = <0>;
			status = "okay";
			S5K5E3F: sensor@1 {
				compatible = "samsung,s5k5e3";
				status = "okay";
				reg = <0x10>;
				clocks = <&soc_clocks PXA1936_CLK_SC2_MCLK>;
				clock-names = "SC2MCLK";
				sc2-i2c-dyn-ctrl;
				adapter = <0x1>;
				sensor-pos = <1>;
				mclk = <26000000>;
				dphy3 = <0x5100>;
				dphy5 = <0xff>;
				dphy6 = <0x1001>;
				avdd_2v8-supply = <&ldo7>;
				dovdd_1v8-supply = <&ldo4>;
				dvdd_1v2-supply = <&ldo17>;
				reset-gpios = <&gpio 69 1>;
			};
		};
		backsensor {
			compatible = "marvell,backsensor";
			#address-cells = <1>;
			#size-cells = <0>;
			status = "okay";
			S5K3L2: sensor@0 {
				compatible = "samsung,s5k3l2";
				status = "okay";
				reg = <0x2d>;
				clocks = <&soc_clocks PXA1936_CLK_SC2_MCLK>;
				clock-names = "SC2MCLK";
				sc2-i2c-dyn-ctrl;
				adapter = <0x1>;
				sensor-pos = <1>;
				mclk = <26000000>;
				dphy3 = <0xff4115>;
				dphy5 = <0x247ff>;
				dphy6 = <0x4001001>;
				af_2v8-supply = <&ldo8>;
				avdd_2v8-supply = <&ldo7>;
				dovdd_1v8-supply = <&ldo4>;
				dvdd_1v2-supply = <&ldo17>;
				reset-gpios = <&gpio 67 1>;
				eep_wp-gpios= <&gpio 46 1>;
			};
		};
	};

	b52isp_sc2_csi0 {
			status = "okay";
	};
	b52isp_sc2_csi1 {
			csi_mux_repacked;
			status = "okay";
	};
	b52isp_sc2_dma0 {
			status = "okay";
	};
	b52isp_sc2_dma1 {
			status = "okay";
	};

	sec-thermistor {
		compatible = "samsung,sec-thermistor";
		status = "okay";
		adc-channel = <1>;
		adc_array = <180 186 192 198 204 210 216 222 228 234 240 250 265 280 295 310 340 370 400 430				/*  90 ~  71 */
				460 498 516 534 552 570 588 606 624 643 663 684 706 729 753 778 803 830 857 886				/*  70 ~  51 */
				915 946 978 1011 1046 1082 1119 1158 1198 1240 1283 1329 1376 1424 1475 1528 1584 1641 1701 1764	/*  50 ~  31 */
				1829 1897 1968 2042 2119 2200 2284 2372 2463 2558 2658 2762 2871 2985 3104 3228 3359 3495 3637 3787	/*  30 ~  11 */
				3944 4107 4279 4459 4647 4845 5052 5269 5497 5737 5988 6253 6532 6824 7132 7456 7797 8156 8534 8932	/*  10 ~ -9 */
				9351 9791 10255 10744 11259 11803 12371 12975 13612 14298 15012>;					/* -10 ~ -20 */

		temp_array = <900 890 880 870 860 850 840 830 820 810 800 790 780 770 760 750 740 730 720 710
			700 690 680 670 660 650 640 630 620 610 600 590 580 570 560 550 540 530 520 510
			500 490 480 470 460 450 440 430 420 410 400 390 380 370 360 350 340 330 320 310
			300 290 280 270 260 250 240 230 220 210 200 190 180 170 160 150 140 130 120 110
			100 90 80 70 60 50 40 30 20 10 0 (-10) (-20) (-30) (-40) (-50) (-60) (-70) (-80) (-90)
			(-100) (-110) (-120) (-130) (-140) (-150) (-160) (-170) (-180) (-190) (-200)>;

		io-channels = <&gpadc 16>;
		io-channel-names = "gpadc2_res";
		io-channel-ranges;
	};

};

#include "88pm88x.dtsi"
#include "88pm880.dtsi"
#include "88pm88x_fg_data_j7.dtsi"
#include "88pm88x_battery_j7.dtsi"
#include "88pm880_pxa1936_j7lte.dtsi"
#include "mmp-dsi-panel-r63317-jdi-hd-video.dtsi"
#include "mmp-dsi-panel-s6d7aa0x62-boe-hd-video.dtsi"
